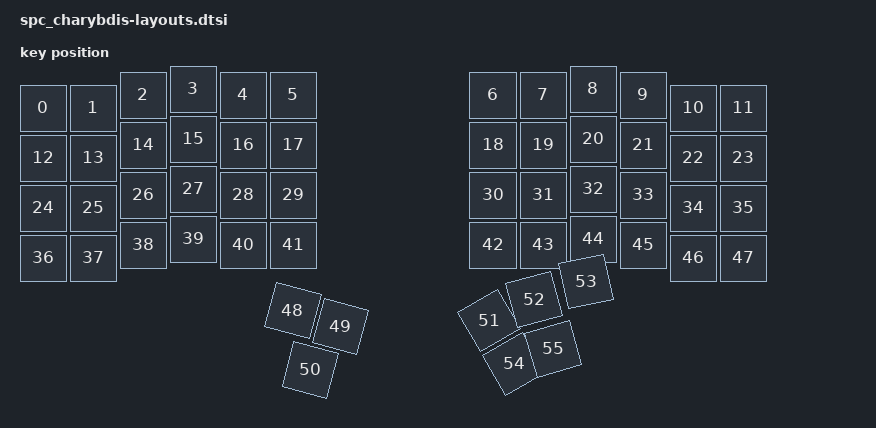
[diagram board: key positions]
#include <physical_layouts.dtsi>

/ {
    physical_layout_spc_charybdis: physical_layout_spc_charybdis {
        compatible = "zmk,physical-layout";
        display-name = "charybdis";
        keys  //                     w   h    x    y     rot    rx    ry
            = <&key_physical_attrs 100 100    0   38       0     0    38>
            , <&key_physical_attrs 100 100  100   38       0   100    38>
            , <&key_physical_attrs 100 100  200   12       0   200    12>
            , <&key_physical_attrs 100 100  300    0       0   300     0>
            , <&key_physical_attrs 100 100  400   12       0   400    12>
            , <&key_physical_attrs 100 100  500   12       0   500    12>
            , <&key_physical_attrs 100 100  900   12       0   900    12>
            , <&key_physical_attrs 100 100 1000   12       0  1000    12>
            , <&key_physical_attrs 100 100 1100    0       0  1100     0>
            , <&key_physical_attrs 100 100 1200   12       0  1200    12>
            , <&key_physical_attrs 100 100 1300   38       0  1300    38>
            , <&key_physical_attrs 100 100 1400   38       0  1400    38>
            , <&key_physical_attrs 100 100    0  138       0     0   138>
            , <&key_physical_attrs 100 100  100  138       0   100   138>
            , <&key_physical_attrs 100 100  200  112       0   200   112>
            , <&key_physical_attrs 100 100  300  100       0   300   100>
            , <&key_physical_attrs 100 100  400  112       0   400   112>
            , <&key_physical_attrs 100 100  500  112       0   500   112>
            , <&key_physical_attrs 100 100  900  112       0   900   112>
            , <&key_physical_attrs 100 100 1000  112       0  1000   112>
            , <&key_physical_attrs 100 100 1100  100       0  1100   100>
            , <&key_physical_attrs 100 100 1200  112       0  1200   112>
            , <&key_physical_attrs 100 100 1300  138       0  1300   138>
            , <&key_physical_attrs 100 100 1400  138       0  1400   138>
            , <&key_physical_attrs 100 100    0  238       0     0   238>
            , <&key_physical_attrs 100 100  100  238       0   100   238>
            , <&key_physical_attrs 100 100  200  212       0   200   212>
            , <&key_physical_attrs 100 100  300  200       0   300   200>
            , <&key_physical_attrs 100 100  400  212       0   400   212>
            , <&key_physical_attrs 100 100  500  212       0   500   212>
            , <&key_physical_attrs 100 100  900  212       0   900   212>
            , <&key_physical_attrs 100 100 1000  212       0  1000   212>
            , <&key_physical_attrs 100 100 1100  200       0  1100   200>
            , <&key_physical_attrs 100 100 1200  212       0  1200   212>
            , <&key_physical_attrs 100 100 1300  238       0  1300   238>
            , <&key_physical_attrs 100 100 1400  238       0  1400   238>
            , <&key_physical_attrs 100 100    0  338       0     0   338>
            , <&key_physical_attrs 100 100  100  338       0   100   338>
            , <&key_physical_attrs 100 100  200  312       0   200   312>
            , <&key_physical_attrs 100 100  300  300       0   300   300>
            , <&key_physical_attrs 100 100  400  312       0   400   312>
            , <&key_physical_attrs 100 100  500  312       0   500   312>
            , <&key_physical_attrs 100 100  900  312       0   900   312>
            , <&key_physical_attrs 100 100 1000  312       0  1000   312>
            , <&key_physical_attrs 100 100 1100  300       0  1100   300>
            , <&key_physical_attrs 100 100 1200  312       0  1200   312>
            , <&key_physical_attrs 100 100 1300  338       0  1300   338>
            , <&key_physical_attrs 100 100 1400  338       0  1400   338>
            , <&key_physical_attrs 100 100  418  414    1500   398   790>
            , <&key_physical_attrs 100 100  518  420    1500   398   790>
            , <&key_physical_attrs 100 100  482  520    1500   398   790>
            , <&key_physical_attrs 100 100 1052  420 (-3000)  1102   790>
            , <&key_physical_attrs 100 100 1067  414 (-1500)  1102   790>
            , <&key_physical_attrs 100 100 1077  396   34841  1077   396>
            , <&key_physical_attrs 100 100 1052  520 (-3000)  1102   790>
            , <&key_physical_attrs 100 100 1009  536   34393  1009   536>
            ;
    };
};
